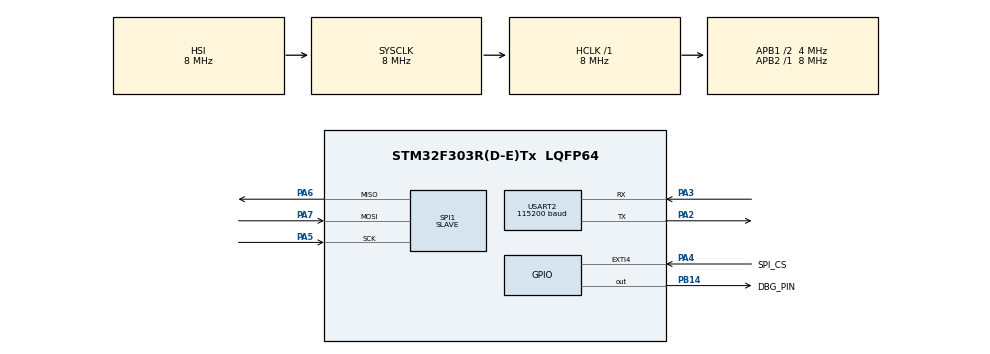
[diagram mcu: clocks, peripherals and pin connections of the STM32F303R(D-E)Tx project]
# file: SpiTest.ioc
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Dma.Request0=SPI1_RX
Dma.Request1=SPI1_TX
Dma.SPI1_RX.0.Direction=DMA_PERIPH_TO_MEMORY
Dma.SPI1_RX.0.Instance=DMA1_Channel2
Dma.SPI1_RX.0.MemDataAlignment=DMA_MDATAALIGN_BYTE
Dma.SPI1_RX.0.MemInc=DMA_MINC_ENABLE
Dma.SPI1_RX.0.Mode=DMA_NORMAL
Dma.SPI1_RX.0.PeriphDataAlignment=DMA_PDATAALIGN_BYTE
Dma.SPI1_RX.0.PeriphInc=DMA_PINC_DISABLE
Dma.SPI1_RX.0.Priority=DMA_PRIORITY_LOW
Dma.SPI1_TX.1.Direction=DMA_MEMORY_TO_PERIPH
Dma.SPI1_TX.1.Instance=DMA1_Channel3
Dma.SPI1_TX.1.MemDataAlignment=DMA_MDATAALIGN_BYTE
Dma.SPI1_TX.1.MemInc=DMA_MINC_ENABLE
Dma.SPI1_TX.1.Mode=DMA_NORMAL
Dma.SPI1_TX.1.PeriphDataAlignment=DMA_PDATAALIGN_BYTE
Dma.SPI1_TX.1.PeriphInc=DMA_PINC_DISABLE
Dma.SPI1_TX.1.Priority=DMA_PRIORITY_LOW
Mcu.Family=STM32F3
Mcu.Name=STM32F303R(D-E)Tx
Mcu.Package=LQFP64
NVIC.DMA1_Channel2_IRQn=true\:0\:0\:false\:false\:true\:false\:true
NVIC.DMA1_Channel3_IRQn=true\:0\:0\:false\:false\:true\:false\:true
NVIC.EXTI4_IRQn=true\:0\:0\:false\:false\:true\:true\:true
NVIC.PriorityGroup=NVIC_PRIORITYGROUP_4
PA13.Signal=SYS_JTMS-SWDIO
PA14.Signal=SYS_JTCK-SWCLK
PA2.Mode=Asynchronous
PA2.Signal=USART2_TX
PA3.Mode=Asynchronous
PA3.Signal=USART2_RX
PA4.GPIO_Label=SPI_CS
PA4.GPIO_ModeDefaultEXTI=GPIO_MODE_IT_RISING_FALLING
PA4.Signal=GPXTI4
PA5.Mode=Full_Duplex_Slave
PA5.Signal=SPI1_SCK
PA6.Mode=Full_Duplex_Slave
PA6.Signal=SPI1_MISO
PA7.Mode=Full_Duplex_Slave
PA7.Signal=SPI1_MOSI
PB14.GPIO_Label=DBG_PIN
PB14.Signal=GPIO_Output
PF0-OSC_IN.Mode=HSE-External-Oscillator
PF0-OSC_IN.Signal=RCC_OSC_IN
PF1-OSC_OUT.Mode=HSE-External-Oscillator
PF1-OSC_OUT.Signal=RCC_OSC_OUT
ProjectManager.HeapSize=0x200
ProjectManager.StackSize=0x400
ProjectManager.TargetToolchain=TrueSTUDIO
RCC.AHBFreq_Value=8000000
RCC.APB1CLKDivider=RCC_HCLK_DIV2
RCC.APB1Freq_Value=4000000
RCC.APB1TimFreq_Value=8000000
RCC.APB2Freq_Value=8000000
RCC.APB2TimFreq_Value=8000000
RCC.CortexFreq_Value=8000000
RCC.HCLKFreq_Value=8000000
RCC.HSE_VALUE=8000000
RCC.HSI_VALUE=8000000
RCC.LSE_VALUE=32768
RCC.PLLMUL=RCC_PLL_MUL9
RCC.PLLSourceVirtual=RCC_PLLSOURCE_HSE
RCC.SYSCLKFreq_VALUE=8000000
RCC.USBFreq_Value=72000000
SPI1.DataSize=SPI_DATASIZE_8BIT
SPI1.Direction=SPI_DIRECTION_2LINES
SPI1.Mode=SPI_MODE_SLAVE
SPI1.VirtualType=VM_SLAVE
USART2.BaudRate=115200
USART2.VirtualMode-Asynchronous=VM_ASYNC
board=custom

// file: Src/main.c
/* USER CODE BEGIN Header */
/**
 ******************************************************************************
 * @file           : main.c
 * @brief          : Main program body
 ******************************************************************************
 * @attention
 *
 * <h2><center>&copy; Copyright (c) 2019 STMicroelectronics.
 * All rights reserved.</center></h2>
 *
 * This software component is licensed by ST under BSD 3-Clause license,
 * the "License"; You may not use this file except in compliance with the
 * License. You may obtain a copy of the License at:
 *                        opensource.org/licenses/BSD-3-Clause
 *
 ******************************************************************************
 */
/* USER CODE END Header */

#include "main.h"

/* USER CODE BEGIN PD */
#ifdef __GNUC__
#define PUTCHAR_PROTOTYPE int __io_putchar(int ch)
#else
#define PUTCHAR_PROTOTYPE int fputc(int ch, FILE *f)
#endif /* __GNUC__ */

//#define DEBUG_RPI_COM
/* USER CODE END PD */

SPI_HandleTypeDef hspi1;
DMA_HandleTypeDef hdma_spi1_rx;
DMA_HandleTypeDef hdma_spi1_tx;

UART_HandleTypeDef huart2;

/* USER CODE BEGIN PV */
RpiComStates_t state;
int packetCount = 0;
int errorCount = 0;
int replyCount = 0;

uint8_t readBuffer[BUFFER_SIZE];
uint8_t writeBuffer[BUFFER_SIZE];
/* USER CODE END PV */

void SystemClock_Config(void);
static void MX_GPIO_Init(void);
static void MX_DMA_Init(void);
static void MX_SPI1_Init(void);
static void MX_USART2_UART_Init(void);

int main(void) {

	/* MCU Configuration--------------------------------------------------------*/

	/* Reset of all peripherals, Initializes the Flash interface and the Systick. */
	HAL_Init();

	/* Configure the system clock */
	SystemClock_Config();

	/* Initialize all configured peripherals */
	MX_GPIO_Init();
	MX_DMA_Init();
	MX_SPI1_Init();
	MX_USART2_UART_Init();
	/* USER CODE BEGIN 2 */
	state = IDLE;
	for (int i = 0; i < BUFFER_SIZE; i++) {
		readBuffer[i] = 0;
		writeBuffer[i] = 0;
	}

	printf("Init finished\r\n");
	/* USER CODE END 2 */

	/* Infinite loop */
	/* USER CODE BEGIN WHILE */
	int ctr = 0;

	while (1) {
		HAL_GPIO_TogglePin(GPIOB, GPIO_PIN_14);
		loop();
		//HAL_Delay(1);
	    ctr++;
	    if (ctr == 50000)
	    {
	        printf("Message Stats P %d\tE %d\tR %d\r\n", packetCount, errorCount, replyCount);
	        ctr = 0;
	    }
		/* USER CODE END WHILE */

	}
}

void SystemClock_Config(void) {
	RCC_OscInitTypeDef RCC_OscInitStruct = { 0 };
	RCC_ClkInitTypeDef RCC_ClkInitStruct = { 0 };
	RCC_PeriphCLKInitTypeDef PeriphClkInit = { 0 };

	/** Initializes the CPU, AHB and APB busses clocks
	 */
	RCC_OscInitStruct.OscillatorType = RCC_OSCILLATORTYPE_HSI;
	RCC_OscInitStruct.HSIState = RCC_HSI_ON;
	RCC_OscInitStruct.HSICalibrationValue = RCC_HSICALIBRATION_DEFAULT;
	RCC_OscInitStruct.PLL.PLLState = RCC_PLL_NONE;
	if (HAL_RCC_OscConfig(&RCC_OscInitStruct) != HAL_OK) {
		Error_Handler();
	}
	/** Initializes the CPU, AHB and APB busses clocks
	 */
	RCC_ClkInitStruct.ClockType = RCC_CLOCKTYPE_HCLK | RCC_CLOCKTYPE_SYSCLK
			| RCC_CLOCKTYPE_PCLK1 | RCC_CLOCKTYPE_PCLK2;
	RCC_ClkInitStruct.SYSCLKSource = RCC_SYSCLKSOURCE_HSI;
	RCC_ClkInitStruct.AHBCLKDivider = RCC_SYSCLK_DIV1;
	RCC_ClkInitStruct.APB1CLKDivider = RCC_HCLK_DIV2;
	RCC_ClkInitStruct.APB2CLKDivider = RCC_HCLK_DIV1;

	if (HAL_RCC_ClockConfig(&RCC_ClkInitStruct, FLASH_LATENCY_0) != HAL_OK) {
		Error_Handler();
	}
	PeriphClkInit.PeriphClockSelection = RCC_PERIPHCLK_USART2;
	PeriphClkInit.Usart2ClockSelection = RCC_USART2CLKSOURCE_PCLK1;
	if (HAL_RCCEx_PeriphCLKConfig(&PeriphClkInit) != HAL_OK) {
		Error_Handler();
	}
}

static void MX_SPI1_Init(void) {

	/* SPI1 parameter configuration*/
	hspi1.Instance = SPI1;
	hspi1.Init.Mode = SPI_MODE_SLAVE;
	hspi1.Init.Direction = SPI_DIRECTION_2LINES;
	hspi1.Init.DataSize = SPI_DATASIZE_8BIT;
	hspi1.Init.CLKPolarity = SPI_POLARITY_LOW;
	hspi1.Init.CLKPhase = SPI_PHASE_1EDGE;
	hspi1.Init.NSS = SPI_NSS_SOFT;
	hspi1.Init.FirstBit = SPI_FIRSTBIT_MSB;
	hspi1.Init.TIMode = SPI_TIMODE_DISABLE;
	hspi1.Init.CRCCalculation = SPI_CRCCALCULATION_DISABLE;
	hspi1.Init.CRCPolynomial = 7;
	hspi1.Init.CRCLength = SPI_CRC_LENGTH_DATASIZE;
	hspi1.Init.NSSPMode = SPI_NSS_PULSE_DISABLE;
	if (HAL_SPI_Init(&hspi1) != HAL_OK) {
		Error_Handler();
	}

}

static void MX_USART2_UART_Init(void) {

	huart2.Instance = USART2;
	huart2.Init.BaudRate = 115200;
	huart2.Init.WordLength = UART_WORDLENGTH_8B;
	huart2.Init.StopBits = UART_STOPBITS_1;
	huart2.Init.Parity = UART_PARITY_NONE;
	huart2.Init.Mode = UART_MODE_TX_RX;
	huart2.Init.HwFlowCtl = UART_HWCONTROL_NONE;
	huart2.Init.OverSampling = UART_OVERSAMPLING_16;
	huart2.Init.OneBitSampling = UART_ONE_BIT_SAMPLE_DISABLE;
	huart2.AdvancedInit.AdvFeatureInit = UART_ADVFEATURE_NO_INIT;
	if (HAL_UART_Init(&huart2) != HAL_OK) {
		Error_Handler();
	}

}

static void MX_DMA_Init(void) {

	/* DMA controller clock enable */
	__HAL_RCC_DMA1_CLK_ENABLE()
	;

	/* DMA interrupt init */
	/* DMA1_Channel2_IRQn interrupt configuration */
	HAL_NVIC_SetPriority(DMA1_Channel2_IRQn, 0, 0);
	HAL_NVIC_EnableIRQ(DMA1_Channel2_IRQn);
	/* DMA1_Channel3_IRQn interrupt configuration */
	HAL_NVIC_SetPriority(DMA1_Channel3_IRQn, 0, 0);
	HAL_NVIC_EnableIRQ(DMA1_Channel3_IRQn);

}

static void MX_GPIO_Init(void) {
	GPIO_InitTypeDef GPIO_InitStruct = { 0 };

	/* GPIO Ports Clock Enable */
	__HAL_RCC_GPIOF_CLK_ENABLE()
	;
	__HAL_RCC_GPIOA_CLK_ENABLE()
	;
	__HAL_RCC_GPIOB_CLK_ENABLE()
	;

	/*Configure GPIO pin Output Level */
	HAL_GPIO_WritePin(DBG_PIN_GPIO_Port, DBG_PIN_Pin, GPIO_PIN_RESET);

	/*Configure GPIO pin : SPI_CS_Pin */
	GPIO_InitStruct.Pin = SPI_CS_Pin;
	GPIO_InitStruct.Mode = GPIO_MODE_IT_RISING_FALLING;
	GPIO_InitStruct.Pull = GPIO_NOPULL;
	HAL_GPIO_Init(SPI_CS_GPIO_Port, &GPIO_InitStruct);

	/*Configure GPIO pin : DBG_PIN_Pin */
	GPIO_InitStruct.Pin = DBG_PIN_Pin;
	GPIO_InitStruct.Mode = GPIO_MODE_OUTPUT_PP;
	GPIO_InitStruct.Pull = GPIO_NOPULL;
	GPIO_InitStruct.Speed = GPIO_SPEED_FREQ_LOW;
	HAL_GPIO_Init(DBG_PIN_GPIO_Port, &GPIO_InitStruct);

	/* EXTI interrupt init*/
	HAL_NVIC_SetPriority(EXTI4_IRQn, 0, 0);
	HAL_NVIC_EnableIRQ(EXTI4_IRQn);

}

/* USER CODE BEGIN 4 */

PUTCHAR_PROTOTYPE {
	HAL_UART_Transmit(&huart2, (uint8_t *) &ch, 1, 0xFFFF);
	return ch;
}

uint8_t readByte(uint8_t index) {
	return readBuffer[index];
}

uint32_t readUInt(uint8_t index) {
	uint32_t result = 0;
	result = readBuffer[index];
	result += readBuffer[index + 1] << 8;
	result += readBuffer[index + 2] << 16;
	result += readBuffer[index + 3] << 24;

	return result;
}

void prepareWriteBuffer(UkpMessages messageType, uint8_t payloadLength) {
	clearWriteBuffer();
	writeBuffer[0] = 0x22;
	writeBuffer[1] = 0x33;
	writeBuffer[2] = messageType;
	writeBuffer[3] = payloadLength;

	for (int i = UKP_HEADER_LENGTH; i < BUFFER_SIZE; i++) {
		writeBuffer[i] = 0;
	}
}

void clearCurrentReadBuffer() {
	for (int i = 0; i < BUFFER_SIZE; i++) {
		readBuffer[i] = 0;
	}
}

HAL_StatusTypeDef restartDma(uint16_t size, bool transmit) {
	//HAL_SPI_DMAStop(&hspi1);
	HAL_SPI_Abort(&hspi1);
    __HAL_SPI_CLEAR_OVRFLAG(&hspi1);

	if(transmit){
		return HAL_SPI_Transmit_DMA(&hspi1, writeBuffer, size);

	}
	else{
		return HAL_SPI_Receive_DMA(&hspi1, readBuffer, BUFFER_SIZE);
	}
}

void sendReply(uint8_t payloadLength) {
	uint32_t crc = hcp_crc24q(writeBuffer, UKP_HEADER_LENGTH + payloadLength);

#ifdef DEBUG_RPI_COM
	printf("Send Reply: length(%d) crc(0x%x)\r\n", payloadLength,crc);
#endif

	uint8_t *p = (uint8_t *) &crc;
	for (int i = 0; i < 4; i++) {
		writeBuffer[UKP_HEADER_LENGTH + payloadLength + i] = p[3 - i];
	}

	HAL_StatusTypeDef status = restartDma(
			UKP_HEADER_LENGTH + payloadLength + UKP_FOOTER_LENGTH, true);

	if (status == 0) {
		state = READY_TO_TRANSMIT;
		replyCount++;
	} else {
		state = ERROR_R;
#ifdef DEBUG_RPI_COM
		printf("ERR %d\r\n", status);
#endif
	}
}

void sendAckReply() {
#ifdef DEBUG_RPI_COM
	printf("SEND ACK\r\n");
#endif
	prepareWriteBuffer(ACK_NAK, 1);
	writeBuffer[4] = 1;
	sendReply(1);
}

void sendNakReply() {
#ifdef DEBUG_RPI_COM
	printf("SEND NAK\r\n");
#endif
	prepareWriteBuffer(ACK_NAK, 1);
	writeBuffer[4] = 0;
	sendReply(1);
}

void loop() {
	if (state == IDLE) {
		HAL_StatusTypeDef status = restartDma(BUFFER_SIZE, false);
		if (status == 0) {
			state = RECIEVE_DMA_WAITING;
		}
	} else if (state == RECIEVE_DMA_COMPLETE) {
        HAL_SPI_Abort(&hspi1);

		uint8_t index = 0;
		uint8_t length = 0;

		if (readBuffer[index] != 0x22 || readBuffer[index + 1] != 0x33) {
			errorCount++;
           /* for (int i = 0; i < BUFFER_SIZE; i++)
            {
                printf("%x ", readBuffer[i]);
            }
            printf("\r\n\r\n");*/
			clearCurrentReadBuffer();
			state = IDLE;
			return;
		}

		index = index + 2;
		length = 0;

		UkpMessages currentPacketType = (UkpMessages) readByte(index);
		index++;

		length = readByte(index);
		index++;

		uint8_t crcOffset = UKP_HEADER_LENGTH + length;
		uint32_t calculatedCrc = hcp_crc24q(readBuffer, crcOffset);
		uint32_t recievedCrc = readUInt(crcOffset);

		if (calculatedCrc != recievedCrc) {
			printf("CRC ERROR: ");
			printf("Recieved 0x%x but calculated 0x%x\r\n", recievedCrc,
					calculatedCrc);

			sendNakReply();
			errorCount++;
			clearCurrentReadBuffer();
			state = IDLE;
			return;
		}

		switch (currentPacketType) {
		case MY_EXAMPLE_UPDATE_MSG: {
			uint8_t myExampleAttribute1 = readByte(index);
			index++;
			uint8_t myExampleAttribute2 = readByte(index);
#ifdef DEBUG_RPI_COM
			//printf("myExampleAttribute1 %d\r\n", myExampleAttribute1);
			//printf("myExampleAttribute2 %d\r\n", myExampleAttribute2);
#endif
			sendAckReply();
			break;
		default:
			state = IDLE;
			break;
		}

		}

		packetCount++;
		clearCurrentReadBuffer();
	}
}

void HAL_GPIO_EXTI_Callback(uint16_t GPIO_Pin) {
	if (GPIO_Pin == SPI_CS_Pin) {
		GPIO_PinState pinState = HAL_GPIO_ReadPin(GPIOA, SPI_CS_Pin);
		if (pinState == GPIO_PIN_SET) {
		    SET_BIT(SPI1->CR1, SPI_CR1_SSI);
			if (state == RECIEVE_DMA_RUNNING) {
				state = RECIEVE_DMA_COMPLETE;
			} else if (state == TRANSMIT_RUNNING) {
				state = IDLE;
			}

		} else if (pinState == GPIO_PIN_RESET) {

			if (state == READY_TO_TRANSMIT) {
				state = TRANSMIT_RUNNING;
			} else if (state == RECIEVE_DMA_WAITING) {
				state = RECIEVE_DMA_RUNNING;
			}
		    uint16_t sr = READ_REG(SPI1->SR);
		    CLEAR_BIT(SPI1->CR1, SPI_CR1_SSI);
		}
	}
}
uint32_t hcp_crc24q(unsigned char *buff, int len) {
	uint32_t crc = 0;
	for (int i = 0; i < len; i++) {
		crc = ((crc << 8) & 0xFFFFFF) ^ tbl_CRC24Q[(crc >> 16) ^ buff[i]];
	}
	return crc;
}
/* USER CODE END 4 */

void Error_Handler(void) {
}

/************************ (C) COPYRIGHT STMicroelectronics *****END OF FILE****/
